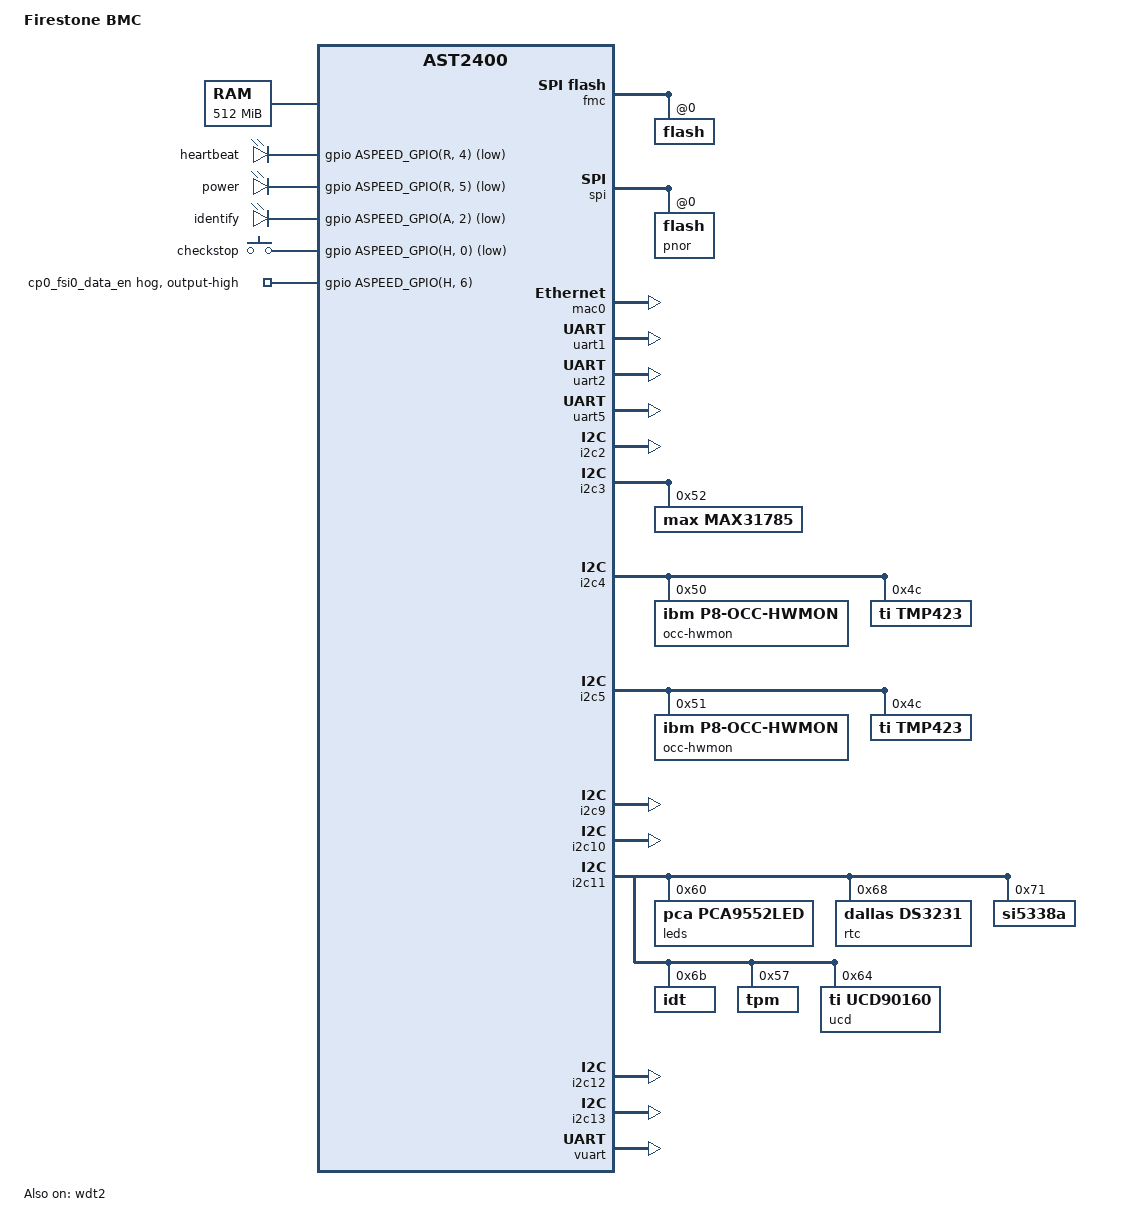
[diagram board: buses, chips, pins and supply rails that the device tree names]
/dts-v1/;

#include "aspeed-g4.dtsi"

#include <dt-bindings/gpio/aspeed-gpio.h>

/ {
	model = "Firestone BMC";
	compatible = "ibm,firestone-bmc", "aspeed,ast2400";

	chosen {
		stdout-path = &uart5;
		bootargs = "console=ttyS4,115200";
	};

	memory {
		reg = <0x40000000 0x20000000>;
	};

	reserved-memory {
		#address-cells = <1>;
		#size-cells = <1>;
		ranges;

		vga_memory: framebuffer@5f000000 {
			no-map;
			reg = <0x5f000000 0x01000000>; /* 16MB */
		};
	};

	leds {
		compatible = "gpio-leds";

		heartbeat {
			gpios = <&gpio ASPEED_GPIO(R, 4) GPIO_ACTIVE_LOW>;
		};

		power {
			gpios = <&gpio ASPEED_GPIO(R, 5) GPIO_ACTIVE_LOW>;
		};

		identify {
			gpios = <&gpio ASPEED_GPIO(A, 2) GPIO_ACTIVE_LOW>;
		};
	};

	gpio-keys {
		compatible = "gpio-keys";

		checkstop {
			label = "checkstop";
			gpios = <&gpio ASPEED_GPIO(H, 0) GPIO_ACTIVE_LOW>;
			linux,code = <ASPEED_GPIO(H, 0)>;
		};
	};
};

&fmc {
	status = "okay";
	flash@0 {
		status = "okay";
		m25p,fast-read;
#include "openbmc-flash-layout.dtsi"
	};
};

&spi {
	status = "okay";
	pinctrl-names = "default";
	pinctrl-0 = <&pinctrl_spi1_default>;

	flash@0 {
		status = "okay";
		m25p,fast-read;
		label = "pnor";
	};
};

&mac0 {
	status = "okay";

	pinctrl-names = "default";
	pinctrl-0 = <&pinctrl_rgmii1_default &pinctrl_mdio1_default>;
};

&uart1 {
	status = "okay";

	pinctrl-names = "default";
	pinctrl-0 = <&pinctrl_txd1_default
			&pinctrl_rxd1_default
			&pinctrl_nrts1_default
			&pinctrl_ndtr1_default
			&pinctrl_ndsr1_default
			&pinctrl_ncts1_default
			&pinctrl_ndcd1_default
			&pinctrl_nri1_default>;
};

&uart2 {
	status = "okay";

	pinctrl-names = "default";
	pinctrl-0 = <&pinctrl_txd2_default
			&pinctrl_rxd2_default
			&pinctrl_nrts2_default
			&pinctrl_ndtr2_default
			&pinctrl_ndsr2_default
			&pinctrl_ncts2_default
			&pinctrl_ndcd2_default
			&pinctrl_nri2_default>;
};

&uart5 {
	status = "okay";
};

&i2c0 {
	// grounded
	status = "disabled";
};

&i2c1 {
	// grounded
	status = "disabled";
};

&i2c2 {
	// i2c mux
	status = "okay";
};

&i2c3 {
	status = "okay";

	// i2c hub PCA9516A
	// spruce / madrone PDB
	// APSS

	// FIR (fan / SATA backplane)
	max31785@52 {
		compatible = "max,max31785";
		reg = <0x52>;
		#address-cells = <1>;
		#size-cells = <0>;

		fan@0 {
			compatible = "pmbus-fan";
			reg = <0>;
			tach-pulses = <2>;
			maxim,fan-rotor-input = "tach";
			maxim,fan-pwm-freq = <25000>;
			maxim,fan-dual-tach;
			maxim,fan-no-watchdog;
			maxim,fan-no-fault-ramp;
			maxim,fan-ramp = <2>;
			maxim,fan-fault-pin-mon;
		};

		fan@1 {
			compatible = "pmbus-fan";
			reg = <1>;
			tach-pulses = <2>;
			maxim,fan-rotor-input = "tach";
			maxim,fan-pwm-freq = <25000>;
			maxim,fan-dual-tach;
			maxim,fan-no-watchdog;
			maxim,fan-no-fault-ramp;
			maxim,fan-ramp = <2>;
			maxim,fan-fault-pin-mon;
		};

		fan@2 {
			compatible = "pmbus-fan";
			reg = <2>;
			tach-pulses = <2>;
			maxim,fan-rotor-input = "tach";
			maxim,fan-pwm-freq = <25000>;
			maxim,fan-dual-tach;
			maxim,fan-no-watchdog;
			maxim,fan-no-fault-ramp;
			maxim,fan-ramp = <2>;
			maxim,fan-fault-pin-mon;
		};

		fan@3 {
			compatible = "pmbus-fan";
			reg = <3>;
			tach-pulses = <2>;
			maxim,fan-rotor-input = "tach";
			maxim,fan-pwm-freq = <25000>;
			maxim,fan-dual-tach;
			maxim,fan-no-watchdog;
			maxim,fan-no-fault-ramp;
			maxim,fan-ramp = <2>;
			maxim,fan-fault-pin-mon;
		};

		fan@4 {
			compatible = "pmbus-fan";
			reg = <4>;
			tach-pulses = <2>;
			maxim,fan-rotor-input = "tach";
			maxim,fan-pwm-freq = <25000>;
			maxim,fan-dual-tach;
			maxim,fan-no-watchdog;
			maxim,fan-no-fault-ramp;
			maxim,fan-ramp = <2>;
			maxim,fan-fault-pin-mon;
		};

		fan@5 {
			compatible = "pmbus-fan";
			reg = <5>;
			tach-pulses = <2>;
			maxim,fan-rotor-input = "tach";
			maxim,fan-pwm-freq = <25000>;
			maxim,fan-dual-tach;
			maxim,fan-no-watchdog;
			maxim,fan-no-fault-ramp;
			maxim,fan-ramp = <2>;
			maxim,fan-fault-pin-mon;
		};
	};
};

&i2c4 {
	status = "okay";

	// turismo
	occ-hwmon@50 {
		compatible = "ibm,p8-occ-hwmon";
		reg = <0x50>;
	};

	tmp423@4c {
		compatible = "ti,tmp423";
		reg = <0x4c>;
	};
};

&i2c5 {
	status = "okay";

	// turismo
	occ-hwmon@51 {
		compatible = "ibm,p8-occ-hwmon";
		reg = <0x51>;
	};

	tmp423@4c {
		compatible = "ti,tmp423";
		reg = <0x4c>;
	};
};

&i2c6 {
	// NC
	status = "disabled";
};

&i2c7 {
	// NC
	status = "disabled";
};

&i2c8 {
	// FSI (bit-banged interface via GPIO)
	status = "disabled";
};

&i2c9 {
	// 4 way mux
	status = "okay";
};

&i2c10 {
	// 4 way mux
	status = "okay";
};

&i2c11 {
	status = "okay";

	leds@60 {
		compatible = "pca,pca9552led";
		reg = <0x60>;
		// led9 - led_fault_n
		// led10 - pwr_led_n
		// led11 - rear_id_led_n
	};

	rtc@68 {
		compatible = "dallas,ds3231";
		reg = <0x68>;
	};

	si5338a@71 {
		// SiLabs clock generator
		reg =<0x71>;
	};

	idt@6b {
		// IDT 9DBV0641 clock buffer
		reg = <0x6b>;
	};

	tpm@57 {
		reg = <0x57>;
	};

	ucd@64 {
		compatible = "ti,ucd90160";
		reg = <0x64>;
	};
};

&i2c12 {
	// i2c hub PCA9516A
	status = "okay";
};

&i2c13 {
	// i2c hub PCA9516A
	status = "okay";
};

&gpio {
	cp0_fsi0_data_en {
		gpio-hog;
		gpios = <ASPEED_GPIO(H, 6) GPIO_ACTIVE_HIGH>;
		output-high;
		line-name = "cp0_fsi0_data_en";
	};
};

&vuart {
	status = "okay";
};

&wdt2 {
	status = "okay";
};
